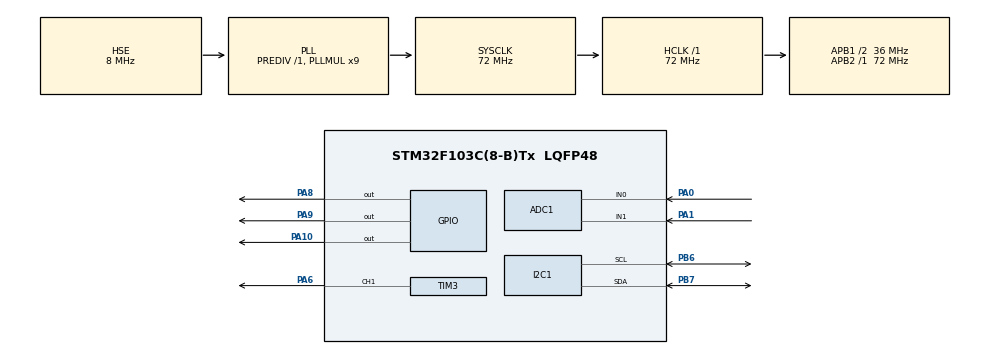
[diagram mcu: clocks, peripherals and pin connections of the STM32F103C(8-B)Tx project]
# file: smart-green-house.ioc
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ADC1.Channel-0\#ChannelRegularConversion=ADC_CHANNEL_0
ADC1.NbrOfConversionFlag=1
ADC1.Rank-0\#ChannelRegularConversion=1
ADC1.SamplingTime-0\#ChannelRegularConversion=ADC_SAMPLETIME_55CYCLES_5
ADC1.master=1
I2C1.I2C_Mode=I2C_Standard
Mcu.Family=STM32F1
Mcu.Name=STM32F103C(8-B)Tx
Mcu.Package=LQFP48
NVIC.PriorityGroup=NVIC_PRIORITYGROUP_4
PA0-WKUP.Signal=ADCx_IN0
PA1.Signal=ADCx_IN1
PA10.Signal=GPIO_Output
PA13.Mode=Serial_Wire
PA13.Signal=SYS_JTMS-SWDIO
PA14.Mode=Serial_Wire
PA14.Signal=SYS_JTCK-SWCLK
PA6.Signal=S_TIM3_CH1
PA8.Signal=GPIO_Output
PA9.Signal=GPIO_Output
PB6.Mode=I2C
PB6.Signal=I2C1_SCL
PB7.Mode=I2C
PB7.Signal=I2C1_SDA
PD0-OSC_IN.Mode=HSE-External-Oscillator
PD0-OSC_IN.Signal=RCC_OSC_IN
PD1-OSC_OUT.Mode=HSE-External-Oscillator
PD1-OSC_OUT.Signal=RCC_OSC_OUT
ProjectManager.HeapSize=0x200
ProjectManager.StackSize=0x400
ProjectManager.TargetToolchain=MDK-ARM V5.32
RCC.ADCPresc=RCC_ADCPCLK2_DIV6
RCC.AHBFreq_Value=72000000
RCC.APB1CLKDivider=RCC_HCLK_DIV2
RCC.APB1Freq_Value=36000000
RCC.APB1TimFreq_Value=72000000
RCC.APB2Freq_Value=72000000
RCC.APB2TimFreq_Value=72000000
RCC.HCLKFreq_Value=72000000
RCC.PLLMUL=RCC_PLL_MUL9
RCC.PLLSourceVirtual=RCC_PLLSOURCE_HSE
RCC.SYSCLKFreq_VALUE=72000000
RCC.SYSCLKSource=RCC_SYSCLKSOURCE_PLLCLK
RCC.USBFreq_Value=72000000
SH.ADCx_IN0.0=ADC1_IN0,IN0
SH.ADCx_IN1.0=ADC1_IN1,IN1
SH.S_TIM3_CH1.0=TIM3_CH1,PWM Generation1 CH1
TIM3.Channel-PWM\ Generation1\ CH1=TIM_CHANNEL_1
TIM3.Period=19999
TIM3.Prescaler=71
TIM3.Pulse-PWM\ Generation1\ CH1=1500
board=custom

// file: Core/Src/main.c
/* USER CODE BEGIN Header */
/**
  ******************************************************************************
  * @file           : main.c
  * @brief          : Main program body
  ******************************************************************************
  * @attention
  *
  * Copyright (c) 2026 STMicroelectronics.
  * All rights reserved.
  *
  * This software is licensed under terms that can be found in the LICENSE file
  * in the root directory of this software component.
  * If no LICENSE file comes with this software, it is provided AS-IS.
  *
  ******************************************************************************
  */
/* USER CODE END Header */
#include "main.h"

/* USER CODE BEGIN Includes */
#include "greenhouse.h"

/* USER CODE END Includes */

/* USER CODE BEGIN PD */

/* Select one GreenhouseTestMode value while bringing up the hardware. */
#define GREENHOUSE_SELECTED_TEST_MODE GREENHOUSE_TEST_FULL
//GREENHOUSE_TEST_SOIL_PUMP

/*
 * Measure these values on the assembled greenhouse before enabling the
 * corresponding automatic actuator. Zero deliberately means "not set".
 */
#define SOIL_DRY_ADC_CALIBRATION       2378U
#define SOIL_WET_ADC_CALIBRATION       1734U
#define LIGHT_DARK_ADC_CALIBRATION     137U
#define LIGHT_BRIGHT_ADC_CALIBRATION   700U
#define SERVO_CLOSED_PULSE_US          1000U
#define SERVO_OPEN_PULSE_US            1500U
#define SERVO_MOVE_TIME_MS             700U
#define PUMP_RUN_TIME_MS               1000U

/* USER CODE END PD */

ADC_HandleTypeDef hadc1;

I2C_HandleTypeDef hi2c1;

TIM_HandleTypeDef htim3;

/* USER CODE BEGIN PV */

static const GreenhouseConfig greenhouse_config =
{
  .soil_dry_adc = SOIL_DRY_ADC_CALIBRATION,
  .soil_wet_adc = SOIL_WET_ADC_CALIBRATION,
  .light_dark_adc = LIGHT_DARK_ADC_CALIBRATION,
  .light_bright_adc = LIGHT_BRIGHT_ADC_CALIBRATION,
  .servo_closed_pulse_us = SERVO_CLOSED_PULSE_US,
  .servo_open_pulse_us = SERVO_OPEN_PULSE_US,
  .servo_move_time_ms = SERVO_MOVE_TIME_MS,
  .pump_run_time_ms = PUMP_RUN_TIME_MS
};

/* USER CODE END PV */

void SystemClock_Config(void);
static void MX_GPIO_Init(void);
static void MX_ADC1_Init(void);
static void MX_I2C1_Init(void);
static void MX_TIM3_Init(void);

int main(void)
{

  /* MCU Configuration--------------------------------------------------------*/

  /* Reset of all peripherals, Initializes the Flash interface and the Systick. */
  HAL_Init();

  /* Configure the system clock */
  SystemClock_Config();

  /* Initialize all configured peripherals */
  MX_GPIO_Init();
  MX_ADC1_Init();
  MX_I2C1_Init();
  MX_TIM3_Init();
  /* USER CODE BEGIN 2 */

  if (Greenhouse_Init(&hadc1, &hi2c1, &htim3, &greenhouse_config,
                      GREENHOUSE_SELECTED_TEST_MODE) != HAL_OK)
  {
    Error_Handler();
  }

  /* USER CODE END 2 */

  /* Infinite loop */
  while (1)
  {

    /* USER CODE BEGIN 3 */
    Greenhouse_Process();
  }
  /* USER CODE END 3 */
}

void SystemClock_Config(void)
{
  RCC_OscInitTypeDef RCC_OscInitStruct = {0};
  RCC_ClkInitTypeDef RCC_ClkInitStruct = {0};
  RCC_PeriphCLKInitTypeDef PeriphClkInit = {0};

  /** Initializes the RCC Oscillators according to the specified parameters
  * in the RCC_OscInitTypeDef structure.
  */
  RCC_OscInitStruct.OscillatorType = RCC_OSCILLATORTYPE_HSE;
  RCC_OscInitStruct.HSEState = RCC_HSE_ON;
  RCC_OscInitStruct.HSEPredivValue = RCC_HSE_PREDIV_DIV1;
  RCC_OscInitStruct.HSIState = RCC_HSI_ON;
  RCC_OscInitStruct.PLL.PLLState = RCC_PLL_ON;
  RCC_OscInitStruct.PLL.PLLSource = RCC_PLLSOURCE_HSE;
  RCC_OscInitStruct.PLL.PLLMUL = RCC_PLL_MUL9;
  if (HAL_RCC_OscConfig(&RCC_OscInitStruct) != HAL_OK)
  {
    Error_Handler();
  }

  /** Initializes the CPU, AHB and APB buses clocks
  */
  RCC_ClkInitStruct.ClockType = RCC_CLOCKTYPE_HCLK|RCC_CLOCKTYPE_SYSCLK
                              |RCC_CLOCKTYPE_PCLK1|RCC_CLOCKTYPE_PCLK2;
  RCC_ClkInitStruct.SYSCLKSource = RCC_SYSCLKSOURCE_PLLCLK;
  RCC_ClkInitStruct.AHBCLKDivider = RCC_SYSCLK_DIV1;
  RCC_ClkInitStruct.APB1CLKDivider = RCC_HCLK_DIV2;
  RCC_ClkInitStruct.APB2CLKDivider = RCC_HCLK_DIV1;

  if (HAL_RCC_ClockConfig(&RCC_ClkInitStruct, FLASH_LATENCY_2) != HAL_OK)
  {
    Error_Handler();
  }
  PeriphClkInit.PeriphClockSelection = RCC_PERIPHCLK_ADC;
  PeriphClkInit.AdcClockSelection = RCC_ADCPCLK2_DIV6;
  if (HAL_RCCEx_PeriphCLKConfig(&PeriphClkInit) != HAL_OK)
  {
    Error_Handler();
  }
}

static void MX_ADC1_Init(void)
{

  ADC_ChannelConfTypeDef sConfig = {0};

  /** Common config
  */
  hadc1.Instance = ADC1;
  hadc1.Init.ScanConvMode = ADC_SCAN_DISABLE;
  hadc1.Init.ContinuousConvMode = DISABLE;
  hadc1.Init.DiscontinuousConvMode = DISABLE;
  hadc1.Init.ExternalTrigConv = ADC_SOFTWARE_START;
  hadc1.Init.DataAlign = ADC_DATAALIGN_RIGHT;
  hadc1.Init.NbrOfConversion = 1;
  if (HAL_ADC_Init(&hadc1) != HAL_OK)
  {
    Error_Handler();
  }

  /** Configure Regular Channel
  */
  sConfig.Channel = ADC_CHANNEL_0;
  sConfig.Rank = ADC_REGULAR_RANK_1;
  sConfig.SamplingTime = ADC_SAMPLETIME_55CYCLES_5;
  if (HAL_ADC_ConfigChannel(&hadc1, &sConfig) != HAL_OK)
  {
    Error_Handler();
  }

}

static void MX_I2C1_Init(void)
{

  hi2c1.Instance = I2C1;
  hi2c1.Init.ClockSpeed = 100000;
  hi2c1.Init.DutyCycle = I2C_DUTYCYCLE_2;
  hi2c1.Init.OwnAddress1 = 0;
  hi2c1.Init.AddressingMode = I2C_ADDRESSINGMODE_7BIT;
  hi2c1.Init.DualAddressMode = I2C_DUALADDRESS_DISABLE;
  hi2c1.Init.OwnAddress2 = 0;
  hi2c1.Init.GeneralCallMode = I2C_GENERALCALL_DISABLE;
  hi2c1.Init.NoStretchMode = I2C_NOSTRETCH_DISABLE;
  if (HAL_I2C_Init(&hi2c1) != HAL_OK)
  {
    Error_Handler();
  }

}

static void MX_TIM3_Init(void)
{

  TIM_MasterConfigTypeDef sMasterConfig = {0};
  TIM_OC_InitTypeDef sConfigOC = {0};

  htim3.Instance = TIM3;
  htim3.Init.Prescaler = 71;
  htim3.Init.CounterMode = TIM_COUNTERMODE_UP;
  htim3.Init.Period = 19999;
  htim3.Init.ClockDivision = TIM_CLOCKDIVISION_DIV1;
  htim3.Init.AutoReloadPreload = TIM_AUTORELOAD_PRELOAD_DISABLE;
  if (HAL_TIM_PWM_Init(&htim3) != HAL_OK)
  {
    Error_Handler();
  }
  sMasterConfig.MasterOutputTrigger = TIM_TRGO_RESET;
  sMasterConfig.MasterSlaveMode = TIM_MASTERSLAVEMODE_DISABLE;
  if (HAL_TIMEx_MasterConfigSynchronization(&htim3, &sMasterConfig) != HAL_OK)
  {
    Error_Handler();
  }
  sConfigOC.OCMode = TIM_OCMODE_PWM1;
  sConfigOC.Pulse = 1500;
  sConfigOC.OCPolarity = TIM_OCPOLARITY_HIGH;
  sConfigOC.OCFastMode = TIM_OCFAST_DISABLE;
  if (HAL_TIM_PWM_ConfigChannel(&htim3, &sConfigOC, TIM_CHANNEL_1) != HAL_OK)
  {
    Error_Handler();
  }
  HAL_TIM_MspPostInit(&htim3);

}

static void MX_GPIO_Init(void)
{
  GPIO_InitTypeDef GPIO_InitStruct = {0};

  /* GPIO Ports Clock Enable */
  __HAL_RCC_GPIOD_CLK_ENABLE();
  __HAL_RCC_GPIOA_CLK_ENABLE();
  __HAL_RCC_GPIOB_CLK_ENABLE();

  /*Configure GPIO pin Output Level */
  HAL_GPIO_WritePin(GPIOA, GPIO_PIN_8, GPIO_PIN_RESET);
  HAL_GPIO_WritePin(GPIOA, GPIO_PIN_9|GPIO_PIN_10, GPIO_PIN_RESET);

  /*Configure GPIO pins : PA8 PA9 PA10 */
  GPIO_InitStruct.Pin = GPIO_PIN_8|GPIO_PIN_9|GPIO_PIN_10;
  GPIO_InitStruct.Mode = GPIO_MODE_OUTPUT_PP;
  GPIO_InitStruct.Pull = GPIO_NOPULL;
  GPIO_InitStruct.Speed = GPIO_SPEED_FREQ_LOW;
  HAL_GPIO_Init(GPIOA, &GPIO_InitStruct);

}

void Error_Handler(void)
{
  __disable_irq();
  while (1)
  {
  }
}
